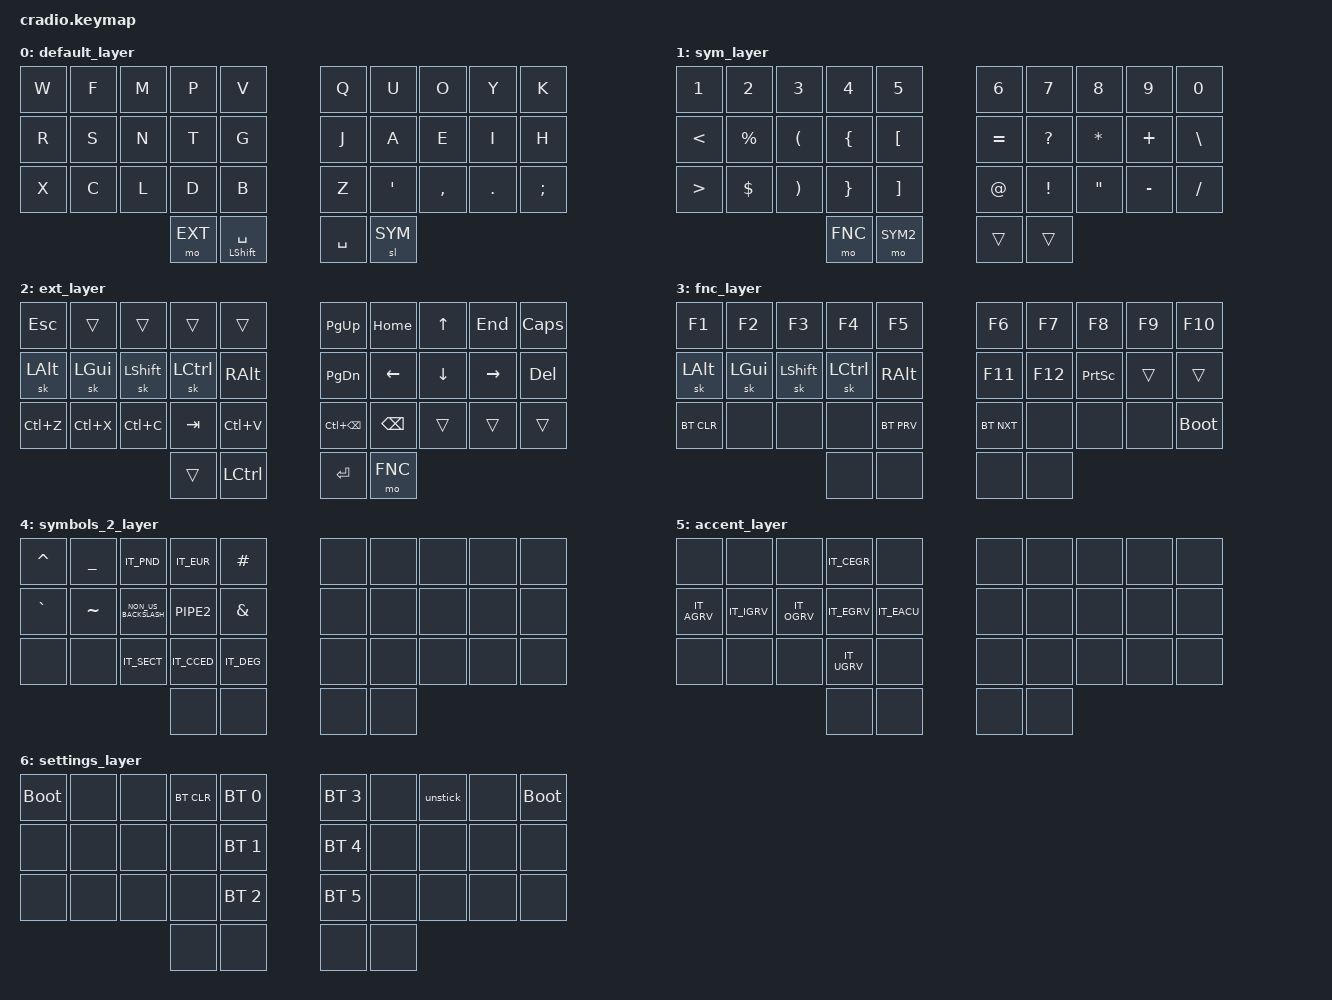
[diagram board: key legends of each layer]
/*
 * Copyright (c) 2020 The ZMK Contributors
 *
 * SPDX-License-Identifier: MIT
 */

#include <behaviors.dtsi>
#include "keymap_italian.h"
#include <dt-bindings/zmk/bt.h>
#include <dt-bindings/zmk/keys.h>

// Layer definitions

#define BASE 0
#define SYM 1
#define EXT 2
#define FNC 3
#define SYM2 4
#define ACCENT 5
#define SETTINGS 6

// -----------------

&mt {
    //  flavor = "tap-preferred";
    // tapping_term_ms = <200>;
};

&sk {
    ignore-modifiers;
};

/ {
    macros {
        // sometimes my device thinks a modifier is being held down
        // pressing all modifiers fixes it.

        unstick: unstick {
            label = "ZM_unstick";
            compatible = "zmk,behavior-macro";
            #binding-cells = <0>;
            bindings = <&kp LSHIFT &kp RSHIFT &kp LCTRL &kp RCTRL &kp LALT &kp RALT &kp LGUI &kp RGUI>;
        };
    };

    combos {
        compatible = "zmk,combos";

        // both right thumb keys

        combo_accent {
            timeout-ms = <300>;
            key-positions = <32 33>;
            bindings = <&mo ACCENT>;
        };

        // internal-left & external-right thumb keys

        combo_sym2 {
            timeout-ms = <200>;
            key-positions = <31 33>;
            bindings = <&mo SYM2>;
        };

        // both left thumb keys

        combo_settings {
            timeout-ms = <300>;
            key-positions = <30 31>;
            bindings = <&mo SETTINGS>;
        };
    };

    keymap {
        compatible = "zmk,keymap";

        // Base alpha layer

        default_layer {
            bindings = <
&kp W  &kp F  &kp M    &kp P             &kp V        &kp Q    &kp U      &kp O    &kp Y     &kp K
&kp R  &kp S  &kp N    &kp T             &kp G        &kp J    &kp A      &kp E    &kp I     &kp H
&kp X  &kp C  &kp L    &kp D             &kp B        &kp Z  &kp SQT  &kp COMMA  &kp DOT  &kp SEMI
                     &mo EXT  &mt LSHIFT SPACE    &kp SPACE  &sl SYM
            >;
        };

        // Numbers and high frequency symbols

        sym_layer {
            bindings = <
          &kp N1       &kp N2                 &kp N3           &kp N4             &kp N5         &kp N6           &kp N7             &kp N8     &kp N9         &kp N0
   &kp LESS_THAN  &kp PERCENT   &kp LEFT_PARENTHESIS   &kp LEFT_BRACE   &kp LEFT_BRACKET      &kp EQUAL     &kp QUESTION           &kp STAR   &kp PLUS  &kp BACKSLASH
&kp GREATER_THAN   &kp DOLLAR  &kp RIGHT_PARENTHESIS  &kp RIGHT_BRACE  &kp RIGHT_BRACKET    &kp AT_SIGN  &kp EXCLAMATION  &kp DOUBLE_QUOTES  &kp MINUS      &kp SLASH
                                                              &mo FNC           &mo SYM2         &trans           &trans
            >;
        };

        // Main modifiers and arrow keys

        ext_layer {
            bindings = <
     &kp ESC     &trans      &trans     &trans     &trans       &kp PG_UP  &kp HOME    &kp UP    &kp END  &kp CAPS
&sk LEFT_ALT   &sk LGUI  &sk LSHIFT  &sk LCTRL   &kp RALT       &kp PG_DN  &kp LEFT  &kp DOWN  &kp RIGHT   &kp DEL
   &kp LC(Z)  &kp LC(X)   &kp LC(C)    &kp TAB  &kp LC(V)    &kp LC(BSPC)  &kp BSPC    &trans     &trans    &trans
                                        &trans  &kp LCTRL       &kp ENTER   &mo FNC
            >;
        };

        // Function keys with modifiers

        fnc_layer {
            bindings = <
      &kp F1    &kp F2      &kp F3     &kp F4      &kp F5        &kp F6   &kp F7           &kp F8  &kp F9      &kp F10
&sk LEFT_ALT  &sk LGUI  &sk LSHIFT  &sk LCTRL    &kp RALT       &kp F11  &kp F12  &kp PRINTSCREEN  &trans       &trans
  &bt BT_CLR     &none       &none      &none  &bt BT_PRV    &bt BT_NXT    &none            &none   &none  &bootloader
                                        &none       &none         &none    &none
            >;
        };

        // Low frequency symbols.

        symbols_2_layer {
            bindings = <
&kp CARET  &kp UNDERSCORE            &kp IT_PND   &kp IT_EUR      &kp POUND    &none  &none  &none  &none  &none
&kp GRAVE       &kp TILDE  &kp NON_US_BACKSLASH    &kp PIPE2  &kp AMPERSAND    &none  &none  &none  &none  &none
    &none           &none           &kp IT_SECT  &kp IT_CCED     &kp IT_DEG    &none  &none  &none  &none  &none
                                                       &none          &none    &none  &none
            >;
        };

        // Used to type regional accents.

        accent_layer {
            bindings = <
      &none        &none        &none  &kp IT_CEGR        &none    &none  &none  &none  &none  &none
&kp IT_AGRV  &kp IT_IGRV  &kp IT_OGRV  &kp IT_EGRV  &kp IT_EACU    &none  &none  &none  &none  &none
      &none        &none        &none  &kp IT_UGRV        &none    &none  &none  &none  &none  &none
                                             &none        &none    &none  &none
            >;
        };

        // Used to change the keyboard's settings.

        settings_layer {
            bindings = <
&bootloader  &none  &none  &bt BT_CLR  &bt BT_SEL 0    &bt BT_SEL 3  &none  &unstick  &none  &bootloader
      &none  &none  &none       &none  &bt BT_SEL 1    &bt BT_SEL 4  &none     &none  &none        &none
      &none  &none  &none       &none  &bt BT_SEL 2    &bt BT_SEL 5  &none     &none  &none        &none
                                &none         &none           &none  &none
            >;
        };
    };
};
